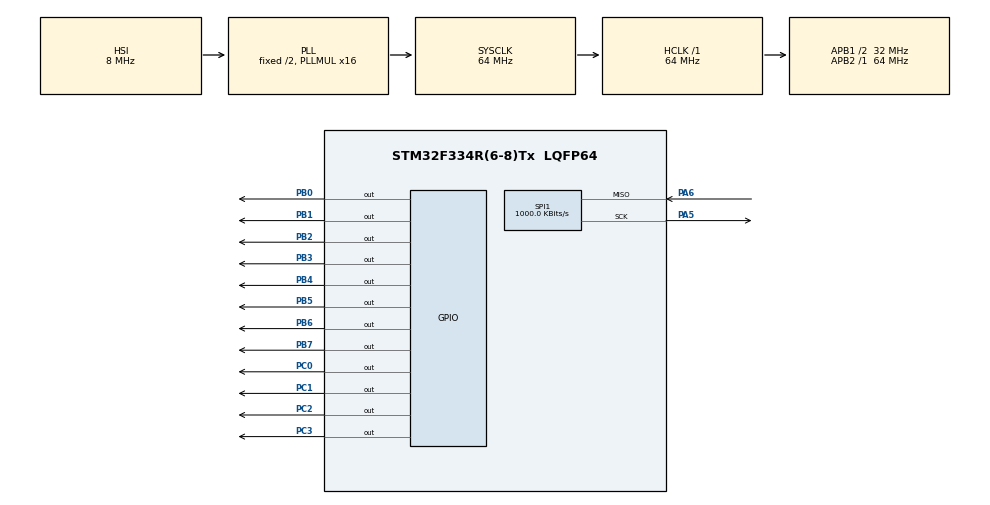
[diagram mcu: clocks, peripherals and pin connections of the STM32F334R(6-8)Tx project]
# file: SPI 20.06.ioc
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Mcu.Family=STM32F3
Mcu.Name=STM32F334R(6-8)Tx
Mcu.Package=LQFP64
NVIC.PriorityGroup=NVIC_PRIORITYGROUP_4
NVIC.SPI1_IRQn=true\:0\:0\:false\:false\:true\:true
PA5.Mode=RX_Only_Simplex_Unidirect_Master
PA5.Signal=SPI1_SCK
PA6.Mode=RX_Only_Simplex_Unidirect_Master
PA6.Signal=SPI1_MISO
PB0.Signal=GPIO_Output
PB1.Signal=GPIO_Output
PB2.Signal=GPIO_Output
PB3.Signal=GPIO_Output
PB4.Signal=GPIO_Output
PB5.Signal=GPIO_Output
PB6.Signal=GPIO_Output
PB7.Signal=GPIO_Output
PC0.Signal=GPIO_Output
PC1.Signal=GPIO_Output
PC2.Signal=GPIO_Output
PC3.Signal=GPIO_Output
ProjectManager.HeapSize=0x200
ProjectManager.StackSize=0x400
ProjectManager.TargetToolchain=TrueSTUDIO
RCC.AHBFreq_Value=64000000
RCC.APB1CLKDivider=RCC_HCLK_DIV2
RCC.APB1Freq_Value=32000000
RCC.APB1TimFreq_Value=64000000
RCC.APB2Freq_Value=64000000
RCC.APB2TimFreq_Value=64000000
RCC.CortexFreq_Value=64000000
RCC.HCLKFreq_Value=64000000
RCC.HSE_VALUE=8000000
RCC.HSI_VALUE=8000000
RCC.LSE_VALUE=32768
RCC.PLLMUL=RCC_PLL_MUL16
RCC.SYSCLKFreq_VALUE=64000000
RCC.SYSCLKSourceVirtual=RCC_SYSCLKSOURCE_PLLCLK
SPI1.BaudRatePrescaler=SPI_BAUDRATEPRESCALER_64
SPI1.CLKPhase=SPI_PHASE_2EDGE
SPI1.CalculateBaudRate=1000.0 KBits/s
SPI1.DataSize=SPI_DATASIZE_8BIT
SPI1.Direction=SPI_DIRECTION_2LINES_RXONLY
SPI1.Mode=SPI_MODE_MASTER
SPI1.VirtualType=VM_MASTER
board=SPI 20.06

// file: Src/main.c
/**
  ******************************************************************************
  * File Name          : main.c
  * Description        : Main program body
  ******************************************************************************
  ** This notice applies to any and all portions of this file
  * that are not between comment pairs USER CODE BEGIN and
  * USER CODE END. Other portions of this file, whether
  * inserted by the user or by software development tools
  * are owned by their respective copyright owners.
  *
  * COPYRIGHT(c) 2021 STMicroelectronics
  *
  * Redistribution and use in source and binary forms, with or without modification,
  * are permitted provided that the following conditions are met:
  *   1. Redistributions of source code must retain the above copyright notice,
  *      this list of conditions and the following disclaimer.
  *   2. Redistributions in binary form must reproduce the above copyright notice,
  *      this list of conditions and the following disclaimer in the documentation
  *      and/or other materials provided with the distribution.
  *   3. Neither the name of STMicroelectronics nor the names of its contributors
  *      may be used to endorse or promote products derived from this software
  *      without specific prior written permission.
  *
  * THIS SOFTWARE IS PROVIDED BY THE COPYRIGHT HOLDERS AND CONTRIBUTORS "AS IS"
  * AND ANY EXPRESS OR IMPLIED WARRANTIES, INCLUDING, BUT NOT LIMITED TO, THE
  * IMPLIED WARRANTIES OF MERCHANTABILITY AND FITNESS FOR A PARTICULAR PURPOSE ARE
  * DISCLAIMED. IN NO EVENT SHALL THE COPYRIGHT HOLDER OR CONTRIBUTORS BE LIABLE
  * FOR ANY DIRECT, INDIRECT, INCIDENTAL, SPECIAL, EXEMPLARY, OR CONSEQUENTIAL
  * DAMAGES (INCLUDING, BUT NOT LIMITED TO, PROCUREMENT OF SUBSTITUTE GOODS OR
  * SERVICES; LOSS OF USE, DATA, OR PROFITS; OR BUSINESS INTERRUPTION) HOWEVER
  * CAUSED AND ON ANY THEORY OF LIABILITY, WHETHER IN CONTRACT, STRICT LIABILITY,
  * OR TORT (INCLUDING NEGLIGENCE OR OTHERWISE) ARISING IN ANY WAY OUT OF THE USE
  * OF THIS SOFTWARE, EVEN IF ADVISED OF THE POSSIBILITY OF SUCH DAMAGE.
  *
  ******************************************************************************
  */

#include "main.h"
#include "stm32f3xx_hal.h"

#define     LCM_OUT1     	GPIOB->ODR
#define     LCM_OUT0        GPIOC->ODR
#define     LCM_RS         	GPIO_PIN_0        	// PC0
#define     LCM_RW         	GPIO_PIN_1        	// PC1
#define     LCM_E          	GPIO_PIN_2        	// PC2
#define     LCM_D7         	GPIO_PIN_7        	// PB7
#define     LCM_D6        	GPIO_PIN_6        	// PB6
#define     LCM_D5        	GPIO_PIN_5          // PB5
#define     LCM_D4        	GPIO_PIN_4          // PB4
#define     LCM_D3        	GPIO_PIN_3          // PB3
#define     LCM_D2        	GPIO_PIN_2          // PB2
#define     LCM_D1        	GPIO_PIN_1          // PB1
#define     LCM_D0        	GPIO_PIN_0          // PB0
#define     LCM_MASK  (LCM_D7|LCM_D6|LCM_D5|LCM_D4|LCM_D3|LCM_D2|LCM_D1| LCM_D0)
SPI_HandleTypeDef hspi1;

/* USER CODE BEGIN PV */
/* Private variables ---------------------------------------------------------*/
char col;
char addInd;
char data;
int str;
int rs;
/* USER CODE END PV */

void SystemClock_Config(void);
static void MX_GPIO_Init(void);
static void MX_SPI1_Init(void);

/* USER CODE BEGIN PFP */
/* Private function prototypes -----------------------------------------------*/
void Takt(void)
{
	LCM_OUT0 &= ~LCM_E;
	HAL_Delay(10);
	LCM_OUT0 |= LCM_E;
	HAL_Delay(10);
	LCM_OUT0 &= (~LCM_E);
	HAL_Delay(45);
}

void Write_DC(char data, int rs)
{
	if(rs==1) {
		LCM_OUT0=LCM_RS;
	}
	else {
		LCM_OUT0 &= ~LCM_RS;
	}

	LCM_OUT1 = data;
	Takt();
}
void Cursor (char col, int str)
{
	char addInd;
	if (str ==1) {
	addInd=0x80|col;
	LCM_OUT0 &= ~LCM_RS;
	LCM_OUT1 = addInd;
	Takt();
	}
	else {
		addInd=0x80|0x40|col;
		LCM_OUT0 &= ~LCM_RS;
		LCM_OUT1 = addInd;
		Takt();
	}

}

void WriteProg(void)
{
  Write_DC(0x01, 0);
  Write_DC(0xA8, 1);//Ï
  Write_DC(0x70, 1);//ð
  Write_DC(0x6F, 1);//î
  Write_DC(0xB4, 1);//ã
  Write_DC(0x20, 1);//
  Write_DC(0x32, 1);//1
  data=(0x31);
  Cursor (0x06, 1);
}

void InitializeLCD(void)
{
    LCM_OUT1 &= ~(LCM_MASK);
    HAL_Delay(100);
    LCM_OUT0 &= ~LCM_RS;
    LCM_OUT0 &= ~LCM_RW;
    LCM_OUT0 &= ~LCM_E;

    Takt();
    Write_DC(0x3C, 0);
    Write_DC(0x3C, 0);
    Write_DC(0x0F, 0);
    Write_DC(0x01, 0);
    Write_DC(0x06, 0);
}

/* USER CODE END PFP */

int main(void)
{

  /* MCU Configuration----------------------------------------------------------*/

  /* Reset of all peripherals, Initializes the Flash interface and the Systick. */
  HAL_Init();

  /* Configure the system clock */
  SystemClock_Config();

  /* Initialize all configured peripherals */
  MX_GPIO_Init();
  MX_SPI1_Init();

  /* USER CODE BEGIN 2 */
  InitializeLCD();
  /* USER CODE END 2 */
  Write_DC(0x01, 0);
  /* Infinite loop */
  while (1)
  {

  }

}

/** System Clock Configuration
*/
void SystemClock_Config(void)
{

  RCC_OscInitTypeDef RCC_OscInitStruct;
  RCC_ClkInitTypeDef RCC_ClkInitStruct;

    /**Initializes the CPU, AHB and APB busses clocks
    */
  RCC_OscInitStruct.OscillatorType = RCC_OSCILLATORTYPE_HSI;
  RCC_OscInitStruct.HSIState = RCC_HSI_ON;
  RCC_OscInitStruct.HSICalibrationValue = 16;
  RCC_OscInitStruct.PLL.PLLState = RCC_PLL_ON;
  RCC_OscInitStruct.PLL.PLLSource = RCC_PLLSOURCE_HSI;
  RCC_OscInitStruct.PLL.PLLMUL = RCC_PLL_MUL16;
  if (HAL_RCC_OscConfig(&RCC_OscInitStruct) != HAL_OK)
  {
    _Error_Handler(__FILE__, __LINE__);
  }

    /**Initializes the CPU, AHB and APB busses clocks
    */
  RCC_ClkInitStruct.ClockType = RCC_CLOCKTYPE_HCLK|RCC_CLOCKTYPE_SYSCLK
                              |RCC_CLOCKTYPE_PCLK1|RCC_CLOCKTYPE_PCLK2;
  RCC_ClkInitStruct.SYSCLKSource = RCC_SYSCLKSOURCE_PLLCLK;
  RCC_ClkInitStruct.AHBCLKDivider = RCC_SYSCLK_DIV1;
  RCC_ClkInitStruct.APB1CLKDivider = RCC_HCLK_DIV2;
  RCC_ClkInitStruct.APB2CLKDivider = RCC_HCLK_DIV1;

  if (HAL_RCC_ClockConfig(&RCC_ClkInitStruct, FLASH_LATENCY_2) != HAL_OK)
  {
    _Error_Handler(__FILE__, __LINE__);
  }

    /**Configure the Systick interrupt time
    */
  HAL_SYSTICK_Config(HAL_RCC_GetHCLKFreq()/1000);

    /**Configure the Systick
    */
  HAL_SYSTICK_CLKSourceConfig(SYSTICK_CLKSOURCE_HCLK);

  /* SysTick_IRQn interrupt configuration */
  HAL_NVIC_SetPriority(SysTick_IRQn, 0, 0);
}

/* SPI1 init function */
static void MX_SPI1_Init(void)
{

  /* SPI1 parameter configuration*/
  hspi1.Instance = SPI1;
  hspi1.Init.Mode = SPI_MODE_MASTER;
  hspi1.Init.Direction = SPI_DIRECTION_2LINES_RXONLY;
  hspi1.Init.DataSize = SPI_DATASIZE_8BIT;
  hspi1.Init.CLKPolarity = SPI_POLARITY_LOW;
  hspi1.Init.CLKPhase = SPI_PHASE_2EDGE;
  hspi1.Init.NSS = SPI_NSS_SOFT;
  hspi1.Init.BaudRatePrescaler = SPI_BAUDRATEPRESCALER_64;
  hspi1.Init.FirstBit = SPI_FIRSTBIT_MSB;
  hspi1.Init.TIMode = SPI_TIMODE_DISABLE;
  hspi1.Init.CRCCalculation = SPI_CRCCALCULATION_DISABLE;
  hspi1.Init.CRCPolynomial = 7;
  hspi1.Init.CRCLength = SPI_CRC_LENGTH_DATASIZE;
  hspi1.Init.NSSPMode = SPI_NSS_PULSE_DISABLE;
  if (HAL_SPI_Init(&hspi1) != HAL_OK)
  {
    _Error_Handler(__FILE__, __LINE__);
  }

}

/** Configure pins as
        * Analog
        * Input
        * Output
        * EVENT_OUT
        * EXTI
*/
static void MX_GPIO_Init(void)
{

  GPIO_InitTypeDef GPIO_InitStruct;

  /* GPIO Ports Clock Enable */
  __HAL_RCC_GPIOC_CLK_ENABLE();
  __HAL_RCC_GPIOA_CLK_ENABLE();
  __HAL_RCC_GPIOB_CLK_ENABLE();

  /*Configure GPIO pin Output Level */
  HAL_GPIO_WritePin(GPIOC, GPIO_PIN_0|GPIO_PIN_1|GPIO_PIN_2|GPIO_PIN_3, GPIO_PIN_RESET);

  /*Configure GPIO pin Output Level */
  HAL_GPIO_WritePin(GPIOB, GPIO_PIN_0|GPIO_PIN_1|GPIO_PIN_2|GPIO_PIN_3
                          |GPIO_PIN_4|GPIO_PIN_5|GPIO_PIN_6|GPIO_PIN_7, GPIO_PIN_RESET);

  /*Configure GPIO pins : PC0 PC1 PC2 PC3 */
  GPIO_InitStruct.Pin = GPIO_PIN_0|GPIO_PIN_1|GPIO_PIN_2|GPIO_PIN_3;
  GPIO_InitStruct.Mode = GPIO_MODE_OUTPUT_PP;
  GPIO_InitStruct.Pull = GPIO_NOPULL;
  GPIO_InitStruct.Speed = GPIO_SPEED_FREQ_LOW;
  HAL_GPIO_Init(GPIOC, &GPIO_InitStruct);

  /*Configure GPIO pins : PB0 PB1 PB2 PB3
                           PB4 PB5 PB6 PB7 */
  GPIO_InitStruct.Pin = GPIO_PIN_0|GPIO_PIN_1|GPIO_PIN_2|GPIO_PIN_3
                          |GPIO_PIN_4|GPIO_PIN_5|GPIO_PIN_6|GPIO_PIN_7;
  GPIO_InitStruct.Mode = GPIO_MODE_OUTPUT_PP;
  GPIO_InitStruct.Pull = GPIO_NOPULL;
  GPIO_InitStruct.Speed = GPIO_SPEED_FREQ_LOW;
  HAL_GPIO_Init(GPIOB, &GPIO_InitStruct);

}

void _Error_Handler(char * file, int line)
{
  while(1)
  {
  }
}

/************************ (C) COPYRIGHT STMicroelectronics *****END OF FILE****/
